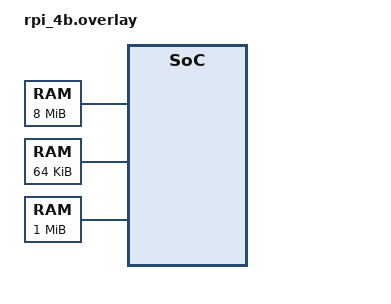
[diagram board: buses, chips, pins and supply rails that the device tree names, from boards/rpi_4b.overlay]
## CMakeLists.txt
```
# SPDX-FileCopyrightText: 2026 Muhammad Waleed Badar
# SPDX-License-Identifier: Apache-2.0

cmake_minimum_required(VERSION 3.20.0)

find_package(Zephyr REQUIRED HINTS $ENV{ZEPHYR_BASE})
project(rpi4_amp_rpmsg)

target_include_directories(app PRIVATE ${LIBMETAL_INCLUDE_DIR} ${OPENAMP_INCLUDE_DIR} ${PLATFORM_DIR})
target_sources(app PRIVATE src/main_remote.c)
```

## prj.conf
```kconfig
# SPDX-FileCopyrightText: 2026 Muhammad Waleed Badar
# SPDX-License-Identifier: Apache-2.0

CONFIG_PRINTK=y
CONFIG_LOG=y
CONFIG_LOG_MODE_MINIMAL=y
# Console in the zephyr,ram-console region, published to Linux as a
# remoteproc trace buffer
CONFIG_RAM_CONSOLE=y

CONFIG_MBOX=y
CONFIG_MBOX_INIT_PRIORITY=40
CONFIG_IPM=y
# Doorbell only: the sample then sends no payload
CONFIG_IPM_MAX_DATA_SIZE=0

CONFIG_OPENAMP=y
CONFIG_OPENAMP_MASTER=n
CONFIG_OPENAMP_RSC_TABLE=y
CONFIG_OPENAMP_RSC_TABLE_NUM_RPMSG_BUFF=8
# Linux updates the resource table in this core's cached RAM
CONFIG_OPENAMP_WITH_DCACHE=y

CONFIG_MAIN_STACK_SIZE=4096
CONFIG_HEAP_MEM_POOL_SIZE=4096

# Zephyr owns core 3 only, Linux runs on cores 0-2
CONFIG_SMP=n
CONFIG_MP_MAX_NUM_CPUS=1
CONFIG_PM_CPU_OPS=n

# Linux sets up the shared GIC distributor
CONFIG_GIC_SAFE_CONFIG=y

# No UART: Linux owns them
CONFIG_SERIAL=n
CONFIG_UART_CONSOLE=n

# Power domains go through the VideoCore firmware, which Linux owns
CONFIG_POWER_DOMAIN=n
CONFIG_PM_DEVICE=n
CONFIG_PM_DEVICE_POWER_DOMAIN=n

# PCIe hosts the VL805 USB 3 controller, which Linux owns
CONFIG_PCIE=n
```

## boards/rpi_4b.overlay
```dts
/*
 * SPDX-FileCopyrightText: 2026 Muhammad Waleed Badar
 * SPDX-License-Identifier: Apache-2.0
 */

#include <zephyr/dt-bindings/memory-attr/memory-attr-arm64.h>

/ {
	chosen {
		/delete-property/ zephyr,console;
		/delete-property/ zephyr,shell-uart;
		/delete-property/ zephyr,entropy;
		/delete-property/ zephyr,display;
		/delete-property/ zephyr,pcie-controller;
		zephyr,sram = &amp_sram;
		zephyr,ram-console = &amp_ram_console;
		zephyr,ipc_shm = &amp_ipc_shm;
		zephyr,ipc = &amp_ipm;
	};

	amp_sram: memory@30000000 {
		compatible = "mmio-sram";
		reg = <0x30000000 DT_SIZE_M(8)>;
		device_type = "memory";
	};

	/* No zephyr,memory-attr: the RAM console maps the region itself */
	amp_ram_console: memory@30800000 {
		compatible = "zephyr,memory-region";
		reg = <0x30800000 DT_SIZE_K(64)>;
		zephyr,memory-region = "RAM_CONSOLE";
	};

	amp_ipc_shm: memory@30900000 {
		compatible = "zephyr,memory-region";
		reg = <0x30900000 DT_SIZE_M(1)>;
		zephyr,memory-region = "IPC_SHM";
		zephyr,memory-attr = <DT_MEM_ARM64_MMU_NORMAL_NC>;
	};

	amp_doorbell: mbox {
		compatible = "zephyr,mbox-gic-sw";
		interrupts = <GIC_SPI 220 IRQ_TYPE_EDGE IRQ_DEFAULT_PRIORITY>;
		tx-spis = <221>;
		#mbox-cells = <1>;
	};

	amp_ipm: ipm {
		compatible = "zephyr,mbox-ipm";
		mboxes = <&amp_doorbell 0>, <&amp_doorbell 0>;
		mbox-names = "tx", "rx";
	};
};

/delete-node/ &dram0;

&rng {
	status = "disabled";
};

&mbox0 {
	status = "disabled";
};

&rpi_fw {
	status = "disabled";
};

&exp_gpio {
	status = "disabled";
};

&vc_thermal {
	status = "disabled";
};

&fb0 {
	status = "disabled";
};

&usb_hcd {
	status = "disabled";
};

&gpio1 {
	status = "disabled";
};

&uart1 {
	status = "disabled";
};

&i2c1 {
	status = "disabled";
};

&eth0 {
	status = "disabled";
};

&mdio0 {
	status = "disabled";
};

&usb0 {
	status = "disabled";
};
```

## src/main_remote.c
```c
/*
 * Copyright (c) 2020, STMICROELECTRONICS
 *
 * SPDX-License-Identifier: Apache-2.0
 */

#include <zephyr/kernel.h>
#include <zephyr/device.h>
#include <string.h>
#include <stdio.h>
#include <stdlib.h>

#include <zephyr/drivers/ipm.h>

#include <openamp/open_amp.h>
#include <metal/sys.h>
#include <metal/io.h>
#include <resource_table.h>
#include <addr_translation.h>

#ifdef CONFIG_SHELL_BACKEND_RPMSG
#include <zephyr/shell/shell_rpmsg.h>
#endif

#include <zephyr/logging/log.h>
LOG_MODULE_REGISTER(openamp_rsc_table);

#define SHM_DEVICE_NAME	"shm"

#if !DT_HAS_CHOSEN(zephyr_ipc_shm)
#error "Sample requires definition of shared memory for rpmsg"
#endif

#if CONFIG_IPM_MAX_DATA_SIZE > 0

#define	IPM_SEND(dev, w, id, d, s) ipm_send(dev, w, id, d, s)
#else
#define IPM_SEND(dev, w, id, d, s) ipm_send(dev, w, id, NULL, 0)
#endif

/* Constants derived from device tree */
#define SHM_NODE		DT_CHOSEN(zephyr_ipc_shm)
#define SHM_START_ADDR	DT_REG_ADDR(SHM_NODE)
#define SHM_SIZE		DT_REG_SIZE(SHM_NODE)

#define APP_TASK_STACK_SIZE (4096)

/* Add 1024 extra bytes for the TTY task stack for the "tx_buff" buffer. */
#define APP_TTY_TASK_STACK_SIZE (4096 + 1024)

K_THREAD_STACK_DEFINE(thread_mng_stack, APP_TASK_STACK_SIZE);
K_THREAD_STACK_DEFINE(thread_rp__client_stack, APP_TASK_STACK_SIZE);
K_THREAD_STACK_DEFINE(thread_tty_stack, APP_TTY_TASK_STACK_SIZE);

static struct k_thread thread_mng_data;
static struct k_thread thread_rp__client_data;
static struct k_thread thread_tty_data;

static const struct device *const ipm_handle =
	DEVICE_DT_GET(DT_CHOSEN(zephyr_ipc));

static metal_phys_addr_t shm_physmap = SHM_START_ADDR;
static metal_phys_addr_t rsc_tab_physmap;

static struct metal_io_region shm_io_data; /* shared memory */
static struct metal_io_region rsc_io_data; /* rsc_table memory */

struct rpmsg_rcv_msg {
	void *data;
	size_t len;
};

static struct metal_io_region *shm_io = &shm_io_data;

static struct metal_io_region *rsc_io = &rsc_io_data;
static struct rpmsg_virtio_device rvdev;

static void *rsc_table;
static struct rpmsg_device *rpdev;

static char rx_sc_msg[20];  /* should receive "Hello world!" */
static struct rpmsg_endpoint sc_ept;
static struct rpmsg_rcv_msg sc_msg = {.data = rx_sc_msg};

static struct rpmsg_endpoint tty_ept;
static struct rpmsg_rcv_msg tty_msg;

static K_SEM_DEFINE(data_sem, 0, 1);
static K_SEM_DEFINE(data_sc_sem, 0, 1);
static K_SEM_DEFINE(data_tty_sem, 0, 1);

static void platform_ipm_callback(const struct device *dev, void *context,
				  uint32_t id, volatile void *data)
{
	LOG_DBG("%s: msg received from mb %d", __func__, id);
	k_sem_give(&data_sem);
}

static int rpmsg_recv_cs_callback(struct rpmsg_endpoint *ept, void *data,
				  size_t len, uint32_t src, void *priv)
{
	memcpy(sc_msg.data, data, len);
	sc_msg.len = len;
	k_sem_give(&data_sc_sem);

	return RPMSG_SUCCESS;
}

static int rpmsg_recv_tty_callback(struct rpmsg_endpoint *ept, void *data,
				   size_t len, uint32_t src, void *priv)
{
	struct rpmsg_rcv_msg *msg = priv;

	rpmsg_hold_rx_buffer(ept, data);
	msg->data = data;
	msg->len = len;
	k_sem_give(&data_tty_sem);

	return RPMSG_SUCCESS;
}

static void receive_message(unsigned char **msg, unsigned int *len)
{
	int status = k_sem_take(&data_sem, K_FOREVER);

	if (status == 0) {
		rproc_virtio_notified(rvdev.vdev, VRING1_ID);
	}
}

static void new_service_cb(struct rpmsg_device *rdev, const char *name,
			   uint32_t src)
{
	LOG_ERR("%s: unexpected ns service receive for name %s",
		__func__, name);
}

int mailbox_notify(void *priv, uint32_t id)
{
	ARG_UNUSED(priv);

	LOG_DBG("%s: msg received", __func__);
	IPM_SEND(ipm_handle, 0, id, &id, 4);

	return 0;
}

int platform_init(void)
{
	int rsc_size;
	struct metal_init_params metal_params = METAL_INIT_DEFAULTS;
	int status;

	status = metal_init(&metal_params);
	if (status) {
		LOG_ERR("metal_init: failed: %d", status);
		return -1;
	}

	/* declare shared memory region */
	metal_io_init(shm_io, (void *)SHM_START_ADDR, &shm_physmap,
		      SHM_SIZE, -1, 0, addr_translation_get_ops(shm_physmap));

	/* declare resource table region */
	rsc_table_get(&rsc_table, &rsc_size);
	rsc_tab_physmap = (uintptr_t)rsc_table;

	metal_io_init(rsc_io, rsc_table,
		      &rsc_tab_physmap, rsc_size, -1, 0, NULL);

	/* setup IPM */
	if (!device_is_ready(ipm_handle)) {
		LOG_ERR("IPM device is not ready");
		return -1;
	}

	ipm_register_callback(ipm_handle, platform_ipm_callback, NULL);

	status = ipm_set_enabled(ipm_handle, 1);
	if (status) {
		LOG_ERR("ipm_set_enabled failed");
		return -1;
	}

	return 0;
}

static void cleanup_system(void)
{
	ipm_set_enabled(ipm_handle, 0);
	rpmsg_deinit_vdev(&rvdev);
	metal_finish();
}

struct  rpmsg_device *
platform_create_rpmsg_vdev(unsigned int vdev_index,
			   unsigned int role,
			   void (*rst_cb)(struct virtio_device *vdev),
			   rpmsg_ns_bind_cb ns_cb)
{
	struct fw_rsc_vdev_vring *vring_rsc;
	struct virtio_device *vdev;
	int ret;

	vdev = rproc_virtio_create_vdev(VIRTIO_DEV_DEVICE, VDEV_ID,
					rsc_table_to_vdev(rsc_table),
					rsc_io, NULL, mailbox_notify, NULL);

	if (!vdev) {
		LOG_ERR("failed to create vdev");
		return NULL;
	}

	/* wait master rpmsg init completion */
	rproc_virtio_wait_remote_ready(vdev);

	vring_rsc = rsc_table_get_vring0(rsc_table);
	ret = rproc_virtio_init_vring(vdev, 0, vring_rsc->notifyid,
				      (void *)vring_rsc->da, rsc_io,
				      vring_rsc->num, vring_rsc->align);
	if (ret) {
		LOG_ERR("failed to init vring 0");
		goto failed;
	}

	vring_rsc = rsc_table_get_vring1(rsc_table);
	ret = rproc_virtio_init_vring(vdev, 1, vring_rsc->notifyid,
				      (void *)vring_rsc->da, rsc_io,
				      vring_rsc->num, vring_rsc->align);
	if (ret) {
		LOG_ERR("failed to init vring 1");
		goto failed;
	}

	ret = rpmsg_init_vdev(&rvdev, vdev, ns_cb, shm_io, NULL);
	if (ret) {
		LOG_ERR("failed rpmsg_init_vdev");
		goto failed;
	}

	return rpmsg_virtio_get_rpmsg_device(&rvdev);

failed:
	rproc_virtio_remove_vdev(vdev);

	return NULL;
}

void app_rpmsg_client_sample(void *arg1, void *arg2, void *arg3)
{
	ARG_UNUSED(arg1);
	ARG_UNUSED(arg2);
	ARG_UNUSED(arg3);

	unsigned int msg_cnt = 0;
	int ret = 0;

	k_sem_take(&data_sc_sem,  K_FOREVER);

	LOG_INF("OpenAMP[remote] Linux sample client responder started");

	ret = rpmsg_create_ept(&sc_ept, rpdev, "rpmsg-client-sample",
			       RPMSG_ADDR_ANY, RPMSG_ADDR_ANY,
			       rpmsg_recv_cs_callback, NULL);
	if (ret) {
		LOG_ERR("[Linux sample client] Could not create endpoint: %d", ret);
		goto task_end;
	}

	while (msg_cnt < 100) {
		k_sem_take(&data_sc_sem,  K_FOREVER);
		msg_cnt++;
		LOG_INF("[Linux sample client] incoming msg %d: %.*s", msg_cnt, sc_msg.len,
			(char *)sc_msg.data);
		rpmsg_send(&sc_ept, sc_msg.data, sc_msg.len);
	}
	rpmsg_destroy_ept(&sc_ept);

task_end:
	LOG_INF("OpenAMP Linux sample client responder ended");
}

void app_rpmsg_tty(void *arg1, void *arg2, void *arg3)
{
	ARG_UNUSED(arg1);
	ARG_UNUSED(arg2);
	ARG_UNUSED(arg3);

	unsigned char tx_buff[512];
	int ret = 0;

	k_sem_take(&data_tty_sem,  K_FOREVER);

	LOG_INF("OpenAMP[remote] Linux TTY responder started");

	tty_ept.priv = &tty_msg;
	ret = rpmsg_create_ept(&tty_ept, rpdev, "rpmsg-tty",
			       RPMSG_ADDR_ANY, RPMSG_ADDR_ANY,
			       rpmsg_recv_tty_callback, NULL);
	if (ret) {
		LOG_ERR("[Linux TTY] Could not create endpoint: %d", ret);
		goto task_end;
	}

	while (tty_ept.addr !=  RPMSG_ADDR_ANY) {
		k_sem_take(&data_tty_sem,  K_FOREVER);
		if (tty_msg.len) {
			LOG_INF("[Linux TTY] incoming msg: %.*s",
				(int)tty_msg.len, (char *)tty_msg.data);
			snprintf(tx_buff, 13, "TTY 0x%04x: ", tty_ept.addr);
			memcpy(&tx_buff[12], tty_msg.data, tty_msg.len);
			rpmsg_send(&tty_ept, tx_buff, tty_msg.len + 12);
			rpmsg_release_rx_buffer(&tty_ept, tty_msg.data);
		}
		tty_msg.len = 0;
		tty_msg.data = NULL;
	}
	rpmsg_destroy_ept(&tty_ept);

task_end:
	LOG_INF("OpenAMP Linux TTY responder ended");
}

void rpmsg_mng_task(void *arg1, void *arg2, void *arg3)
{
	ARG_UNUSED(arg1);
	ARG_UNUSED(arg2);
	ARG_UNUSED(arg3);

	unsigned char *msg;
	unsigned int len;
	int ret = 0;

	LOG_INF("OpenAMP[remote] Linux responder demo started");

	/* Initialize platform */
	ret = platform_init();
	if (ret) {
		LOG_ERR("Failed to initialize platform");
		ret = -1;
		goto task_end;
	}

	rpdev = platform_create_rpmsg_vdev(0, VIRTIO_DEV_DEVICE, NULL,
					   new_service_cb);
	if (!rpdev) {
		LOG_ERR("Failed to create rpmsg virtio device");
		ret = -1;
		goto task_end;
	}

#ifdef CONFIG_SHELL_BACKEND_RPMSG
	(void)shell_backend_rpmsg_init_transport(rpdev);
#endif

	/* start the rpmsg clients */
	k_sem_give(&data_sc_sem);
	k_sem_give(&data_tty_sem);

	while (1) {
		receive_message(&msg, &len);
	}

task_end:
	cleanup_system();

	LOG_INF("OpenAMP demo ended");
}

int main(void)
{
	LOG_INF("Starting application threads!");
	k_thread_create(&thread_mng_data, thread_mng_stack, APP_TASK_STACK_SIZE,
			rpmsg_mng_task,
			NULL, NULL, NULL, K_PRIO_COOP(8), 0, K_NO_WAIT);
	k_thread_create(&thread_rp__client_data, thread_rp__client_stack, APP_TASK_STACK_SIZE,
			app_rpmsg_client_sample,
			NULL, NULL, NULL, K_PRIO_COOP(7), 0, K_NO_WAIT);
	k_thread_create(&thread_tty_data, thread_tty_stack, APP_TTY_TASK_STACK_SIZE,
			app_rpmsg_tty,
			NULL, NULL, NULL, K_PRIO_COOP(7), 0, K_NO_WAIT);
	return 0;
}
```

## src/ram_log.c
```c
/*
 * SPDX-FileCopyrightText: 2026 Muhammad Waleed Badar
 * SPDX-License-Identifier: Apache-2.0
 */

/*
 * printk into the zephyr,ram-console region, laid out like CONFIG_RAM_CONSOLE
 * so linux/ramcon.py reads it. CONFIG_RAM_CONSOLE itself is off: it adds a
 * trace entry to the OpenAMP resource table that does not build on 64-bit.
 */

#include <zephyr/devicetree.h>
#include <zephyr/init.h>
#include <zephyr/sys/printk-hooks.h>

#define RAM_LOG_NODE DT_CHOSEN(zephyr_ram_console)
#define RAM_LOG_SIZE DT_REG_SIZE(RAM_LOG_NODE)

static char *const ram_log = (char *)DT_REG_ADDR(RAM_LOG_NODE);

static int ram_log_out(int c)
{
	static size_t pos;

	ram_log[pos] = (char)c;
	pos = (pos + 1U) % (RAM_LOG_SIZE - 1U);

	return c;
}

static int ram_log_init(void)
{
	__printk_hook_install(ram_log_out);

	return 0;
}

SYS_INIT(ram_log_init, PRE_KERNEL_1, 0);
```
